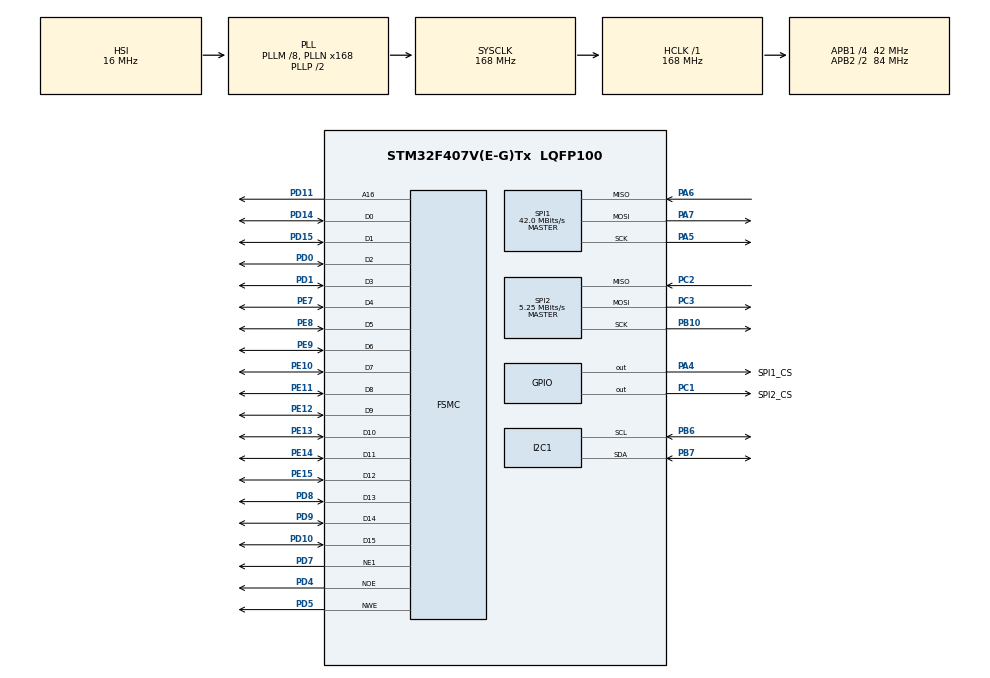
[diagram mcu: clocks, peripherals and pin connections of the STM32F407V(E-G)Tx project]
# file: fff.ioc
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FSMC.AddressSetupTime1=7
FSMC.DataSetupTime1=31
I2C1.I2C_Mode=I2C_Fast
Mcu.Family=STM32F4
Mcu.Name=STM32F407V(E-G)Tx
Mcu.Package=LQFP100
NVIC.PriorityGroup=NVIC_PRIORITYGROUP_4
PA4.GPIO_Label=SPI1_CS
PA4.Signal=GPIO_Output
PA5.Mode=Full_Duplex_Master
PA5.Signal=SPI1_SCK
PA6.Mode=Full_Duplex_Master
PA6.Signal=SPI1_MISO
PA7.Mode=Full_Duplex_Master
PA7.Signal=SPI1_MOSI
PB10.Mode=Full_Duplex_Master
PB10.Signal=SPI2_SCK
PB6.Mode=I2C
PB6.Signal=I2C1_SCL
PB7.Mode=I2C
PB7.Signal=I2C1_SDA
PC1.GPIO_Label=SPI2_CS
PC1.Signal=GPIO_Output
PC2.Mode=Full_Duplex_Master
PC2.Signal=SPI2_MISO
PC3.Mode=Full_Duplex_Master
PC3.Signal=SPI2_MOSI
PD0.Mode=16b-d1
PD0.Signal=FSMC_D2
PD1.Mode=16b-d1
PD1.Signal=FSMC_D3
PD10.Mode=16b-d1
PD10.Signal=FSMC_D15
PD11.Mode=A16_1
PD11.Signal=FSMC_A16
PD14.Mode=16b-d1
PD14.Signal=FSMC_D0
PD15.Mode=16b-d1
PD15.Signal=FSMC_D1
PD4.Mode=Lcd1
PD4.Signal=FSMC_NOE
PD5.Mode=Lcd1
PD5.Signal=FSMC_NWE
PD7.Mode=NorPsramChipSelect1_1
PD7.Signal=FSMC_NE1
PD8.Mode=16b-d1
PD8.Signal=FSMC_D13
PD9.Mode=16b-d1
PD9.Signal=FSMC_D14
PE10.Mode=16b-d1
PE10.Signal=FSMC_D7
PE11.Mode=16b-d1
PE11.Signal=FSMC_D8
PE12.Mode=16b-d1
PE12.Signal=FSMC_D9
PE13.Mode=16b-d1
PE13.Signal=FSMC_D10
PE14.Mode=16b-d1
PE14.Signal=FSMC_D11
PE15.Mode=16b-d1
PE15.Signal=FSMC_D12
PE7.Mode=16b-d1
PE7.Signal=FSMC_D4
PE8.Mode=16b-d1
PE8.Signal=FSMC_D5
PE9.Mode=16b-d1
PE9.Signal=FSMC_D6
ProjectManager.HeapSize=0x200
ProjectManager.StackSize=0x400
ProjectManager.TargetToolchain=SW4STM32
RCC.48MHZClocksFreq_Value=112000000
RCC.AHBFreq_Value=168000000
RCC.APB1CLKDivider=RCC_HCLK_DIV4
RCC.APB1Freq_Value=42000000
RCC.APB1TimFreq_Value=84000000
RCC.APB2CLKDivider=RCC_HCLK_DIV2
RCC.APB2Freq_Value=84000000
RCC.APB2TimFreq_Value=168000000
RCC.CortexFreq_Value=168000000
RCC.HCLKFreq_Value=168000000
RCC.HSE_VALUE=25000000
RCC.HSI_VALUE=16000000
RCC.LSE_VALUE=32768
RCC.PLLM=8
RCC.PLLN=168
RCC.PLLQ=3
RCC.SYSCLKFreq_VALUE=168000000
RCC.SYSCLKSource=RCC_SYSCLKSOURCE_PLLCLK
RCC.VCOOutputFreq_Value=336000000
SPI1.BaudRatePrescaler=SPI_BAUDRATEPRESCALER_2
SPI1.CalculateBaudRate=42.0 MBits/s
SPI1.Direction=SPI_DIRECTION_2LINES
SPI1.Mode=SPI_MODE_MASTER
SPI1.VirtualType=VM_MASTER
SPI2.BaudRatePrescaler=SPI_BAUDRATEPRESCALER_8
SPI2.CalculateBaudRate=5.25 MBits/s
SPI2.Direction=SPI_DIRECTION_2LINES
SPI2.FirstBit=SPI_FIRSTBIT_LSB
SPI2.Mode=SPI_MODE_MASTER
SPI2.VirtualType=VM_MASTER
board=custom

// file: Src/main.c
/**
 ******************************************************************************
 * @file           : main.c
 * @brief          : Main program body
 ******************************************************************************
 ** This notice applies to any and all portions of this file
 * that are not between comment pairs USER CODE BEGIN and
 * USER CODE END. Other portions of this file, whether
 * inserted by the user or by software development tools
 * are owned by their respective copyright owners.
 *
 * COPYRIGHT(c) 2018 STMicroelectronics
 *
 * Redistribution and use in source and binary forms, with or without modification,
 * are permitted provided that the following conditions are met:
 *   1. Redistributions of source code must retain the above copyright notice,
 *      this list of conditions and the following disclaimer.
 *   2. Redistributions in binary form must reproduce the above copyright notice,
 *      this list of conditions and the following disclaimer in the documentation
 *      and/or other materials provided with the distribution.
 *   3. Neither the name of STMicroelectronics nor the names of its contributors
 *      may be used to endorse or promote products derived from this software
 *      without specific prior written permission.
 *
 * THIS SOFTWARE IS PROVIDED BY THE COPYRIGHT HOLDERS AND CONTRIBUTORS "AS IS"
 * AND ANY EXPRESS OR IMPLIED WARRANTIES, INCLUDING, BUT NOT LIMITED TO, THE
 * IMPLIED WARRANTIES OF MERCHANTABILITY AND FITNESS FOR A PARTICULAR PURPOSE ARE
 * DISCLAIMED. IN NO EVENT SHALL THE COPYRIGHT HOLDER OR CONTRIBUTORS BE LIABLE
 * FOR ANY DIRECT, INDIRECT, INCIDENTAL, SPECIAL, EXEMPLARY, OR CONSEQUENTIAL
 * DAMAGES (INCLUDING, BUT NOT LIMITED TO, PROCUREMENT OF SUBSTITUTE GOODS OR
 * SERVICES; LOSS OF USE, DATA, OR PROFITS; OR BUSINESS INTERRUPTION) HOWEVER
 * CAUSED AND ON ANY THEORY OF LIABILITY, WHETHER IN CONTRACT, STRICT LIABILITY,
 * OR TORT (INCLUDING NEGLIGENCE OR OTHERWISE) ARISING IN ANY WAY OUT OF THE USE
 * OF THIS SOFTWARE, EVEN IF ADVISED OF THE POSSIBILITY OF SUCH DAMAGE.
 *
 ******************************************************************************
 */
#include "main.h"
#include "stm32f4xx_hal.h"

/* USER CODE BEGIN Includes */
#include "ILI9488.h"
#include "bitmap.h"
#include "FONTX2.h"
#include "vkeyboard.h"
#include "ff.h"
#include "HR2046.h"
/* USER CODE END Includes */

I2C_HandleTypeDef hi2c1;

SPI_HandleTypeDef hspi1;
SPI_HandleTypeDef hspi2;

SRAM_HandleTypeDef hsram1;

/* USER CODE BEGIN PV */
/* Private variables ---------------------------------------------------------*/

/* USER CODE END PV */

void SystemClock_Config(void);
static void MX_GPIO_Init(void);
static void MX_FSMC_Init(void);
static void MX_I2C1_Init(void);
static void MX_SPI1_Init(void);
static void MX_SPI2_Init(void);

/* USER CODE BEGIN PFP */
/* Private function prototypes -----------------------------------------------*/

/* USER CODE END PFP */

/* USER CODE BEGIN 0 */
//FatFs
FATFS FatFs;
FIL Fil;
UINT bw;
/* USER CODE END 0 */

int main(void) {

	/* MCU Configuration----------------------------------------------------------*/

	/* Reset of all peripherals, Initializes the Flash interface and the Systick. */
	HAL_Init();

	/* Configure the system clock */
	SystemClock_Config();

	/* Initialize all configured peripherals */
	MX_GPIO_Init();
	MX_FSMC_Init();
	MX_I2C1_Init();
	MX_SPI1_Init();
	MX_SPI2_Init();
	/* USER CODE BEGIN 2 */
	ILI9488_init();
	HR2046_init();
	ILI9488_drawRect(0, 0, 480, 320, RGB565(0xFF, 0xFF, 0xFF));
	if (f_mount(&FatFs, "", 1) == FR_OK) {
		ILI9488_puts(200, 0, 0x0000, 0xffff, "Mount Success!");
		ILI9488_puts(200, 0, 0x0000, 0xffff, "Mount Success!");
		f_open(&Fil, "tux.bmp", FA_READ | FA_OPEN_EXISTING);
		drawBitmapFF(200, 50, &Fil);
		f_close(&Fil);
		while(HR2046_getAxis().x ==9999);
		char str[255];
		vkb_getstr(str);
		ILI9488_drawRect(0, 0, 480, 320, RGB565(0xFF, 0xFF, 0xFF));
		fx_writestrFF(0,100,"���͕�����",0x0000,0xffff);
		fx_writestrFF(0,116,str,0x0000,0xffff);
	} else
		ILI9488_puts(200, 0, 0x0000, 0xffff, "Mount Failed!");
	/* USER CODE END 2 */

	/* Infinite loop */
	while (1) {

	}

}

void SystemClock_Config(void) {

	RCC_OscInitTypeDef RCC_OscInitStruct;
	RCC_ClkInitTypeDef RCC_ClkInitStruct;

	/**Configure the main internal regulator output voltage
	 */
	__HAL_RCC_PWR_CLK_ENABLE()
	;

	__HAL_PWR_VOLTAGESCALING_CONFIG(PWR_REGULATOR_VOLTAGE_SCALE1);

	/**Initializes the CPU, AHB and APB busses clocks
	 */
	RCC_OscInitStruct.OscillatorType = RCC_OSCILLATORTYPE_HSI;
	RCC_OscInitStruct.HSIState = RCC_HSI_ON;
	RCC_OscInitStruct.HSICalibrationValue = 16;
	RCC_OscInitStruct.PLL.PLLState = RCC_PLL_ON;
	RCC_OscInitStruct.PLL.PLLSource = RCC_PLLSOURCE_HSI;
	RCC_OscInitStruct.PLL.PLLM = 8;
	RCC_OscInitStruct.PLL.PLLN = 168;
	RCC_OscInitStruct.PLL.PLLP = RCC_PLLP_DIV2;
	RCC_OscInitStruct.PLL.PLLQ = 3;
	if (HAL_RCC_OscConfig(&RCC_OscInitStruct) != HAL_OK) {
		_Error_Handler(__FILE__, __LINE__);
	}

	/**Initializes the CPU, AHB and APB busses clocks
	 */
	RCC_ClkInitStruct.ClockType = RCC_CLOCKTYPE_HCLK | RCC_CLOCKTYPE_SYSCLK
			| RCC_CLOCKTYPE_PCLK1 | RCC_CLOCKTYPE_PCLK2;
	RCC_ClkInitStruct.SYSCLKSource = RCC_SYSCLKSOURCE_PLLCLK;
	RCC_ClkInitStruct.AHBCLKDivider = RCC_SYSCLK_DIV1;
	RCC_ClkInitStruct.APB1CLKDivider = RCC_HCLK_DIV4;
	RCC_ClkInitStruct.APB2CLKDivider = RCC_HCLK_DIV2;

	if (HAL_RCC_ClockConfig(&RCC_ClkInitStruct, FLASH_LATENCY_5) != HAL_OK) {
		_Error_Handler(__FILE__, __LINE__);
	}

	/**Configure the Systick interrupt time
	 */
	HAL_SYSTICK_Config(HAL_RCC_GetHCLKFreq() / 1000);

	/**Configure the Systick
	 */
	HAL_SYSTICK_CLKSourceConfig(SYSTICK_CLKSOURCE_HCLK);

	/* SysTick_IRQn interrupt configuration */
	HAL_NVIC_SetPriority(SysTick_IRQn, 0, 0);
}

/* I2C1 init function */
static void MX_I2C1_Init(void) {

	hi2c1.Instance = I2C1;
	hi2c1.Init.ClockSpeed = 400000;
	hi2c1.Init.DutyCycle = I2C_DUTYCYCLE_2;
	hi2c1.Init.OwnAddress1 = 0;
	hi2c1.Init.AddressingMode = I2C_ADDRESSINGMODE_7BIT;
	hi2c1.Init.DualAddressMode = I2C_DUALADDRESS_DISABLE;
	hi2c1.Init.OwnAddress2 = 0;
	hi2c1.Init.GeneralCallMode = I2C_GENERALCALL_DISABLE;
	hi2c1.Init.NoStretchMode = I2C_NOSTRETCH_DISABLE;
	if (HAL_I2C_Init(&hi2c1) != HAL_OK) {
		_Error_Handler(__FILE__, __LINE__);
	}

}

/* SPI1 init function */
static void MX_SPI1_Init(void) {

	/* SPI1 parameter configuration*/
	hspi1.Instance = SPI1;
	hspi1.Init.Mode = SPI_MODE_MASTER;
	hspi1.Init.Direction = SPI_DIRECTION_2LINES;
	hspi1.Init.DataSize = SPI_DATASIZE_8BIT;
	hspi1.Init.CLKPolarity = SPI_POLARITY_LOW;
	hspi1.Init.CLKPhase = SPI_PHASE_1EDGE;
	hspi1.Init.NSS = SPI_NSS_SOFT;
	hspi1.Init.BaudRatePrescaler = SPI_BAUDRATEPRESCALER_2;
	hspi1.Init.FirstBit = SPI_FIRSTBIT_MSB;
	hspi1.Init.TIMode = SPI_TIMODE_DISABLE;
	hspi1.Init.CRCCalculation = SPI_CRCCALCULATION_DISABLE;
	hspi1.Init.CRCPolynomial = 10;
	if (HAL_SPI_Init(&hspi1) != HAL_OK) {
		_Error_Handler(__FILE__, __LINE__);
	}

}

/* SPI2 init function */
static void MX_SPI2_Init(void) {

	/* SPI2 parameter configuration*/
	hspi2.Instance = SPI2;
	hspi2.Init.Mode = SPI_MODE_MASTER;
	hspi2.Init.Direction = SPI_DIRECTION_2LINES;
	hspi2.Init.DataSize = SPI_DATASIZE_8BIT;
	hspi2.Init.CLKPolarity = SPI_POLARITY_LOW;
	hspi2.Init.CLKPhase = SPI_PHASE_1EDGE;
	hspi2.Init.NSS = SPI_NSS_SOFT;
	hspi2.Init.BaudRatePrescaler = SPI_BAUDRATEPRESCALER_8;
	hspi2.Init.FirstBit = SPI_FIRSTBIT_LSB;
	hspi2.Init.TIMode = SPI_TIMODE_DISABLE;
	hspi2.Init.CRCCalculation = SPI_CRCCALCULATION_DISABLE;
	hspi2.Init.CRCPolynomial = 10;
	if (HAL_SPI_Init(&hspi2) != HAL_OK) {
		_Error_Handler(__FILE__, __LINE__);
	}

}

/** Configure pins as
 * Analog
 * Input
 * Output
 * EVENT_OUT
 * EXTI
 */
static void MX_GPIO_Init(void) {

	GPIO_InitTypeDef GPIO_InitStruct;

	/* GPIO Ports Clock Enable */
	__HAL_RCC_GPIOC_CLK_ENABLE()
	;
	__HAL_RCC_GPIOA_CLK_ENABLE()
	;
	__HAL_RCC_GPIOE_CLK_ENABLE()
	;
	__HAL_RCC_GPIOB_CLK_ENABLE()
	;
	__HAL_RCC_GPIOD_CLK_ENABLE()
	;

	/*Configure GPIO pin Output Level */
	HAL_GPIO_WritePin(SPI2_CS_GPIO_Port, SPI2_CS_Pin, GPIO_PIN_RESET);

	/*Configure GPIO pin Output Level */
	HAL_GPIO_WritePin(SPI1_CS_GPIO_Port, SPI1_CS_Pin, GPIO_PIN_RESET);

	/*Configure GPIO pin : SPI2_CS_Pin */
	GPIO_InitStruct.Pin = SPI2_CS_Pin;
	GPIO_InitStruct.Mode = GPIO_MODE_OUTPUT_PP;
	GPIO_InitStruct.Pull = GPIO_NOPULL;
	GPIO_InitStruct.Speed = GPIO_SPEED_FREQ_LOW;
	HAL_GPIO_Init(SPI2_CS_GPIO_Port, &GPIO_InitStruct);

	/*Configure GPIO pin : SPI1_CS_Pin */
	GPIO_InitStruct.Pin = SPI1_CS_Pin;
	GPIO_InitStruct.Mode = GPIO_MODE_OUTPUT_PP;
	GPIO_InitStruct.Pull = GPIO_NOPULL;
	GPIO_InitStruct.Speed = GPIO_SPEED_FREQ_LOW;
	HAL_GPIO_Init(SPI1_CS_GPIO_Port, &GPIO_InitStruct);

}

/* FSMC initialization function */
static void MX_FSMC_Init(void) {
	FSMC_NORSRAM_TimingTypeDef Timing;

	/** Perform the SRAM1 memory initialization sequence
	 */
	hsram1.Instance = FSMC_NORSRAM_DEVICE;
	hsram1.Extended = FSMC_NORSRAM_EXTENDED_DEVICE;
	/* hsram1.Init */
	hsram1.Init.NSBank = FSMC_NORSRAM_BANK1;
	hsram1.Init.DataAddressMux = FSMC_DATA_ADDRESS_MUX_DISABLE;
	hsram1.Init.MemoryType = FSMC_MEMORY_TYPE_SRAM;
	hsram1.Init.MemoryDataWidth = FSMC_NORSRAM_MEM_BUS_WIDTH_16;
	hsram1.Init.BurstAccessMode = FSMC_BURST_ACCESS_MODE_DISABLE;
	hsram1.Init.WaitSignalPolarity = FSMC_WAIT_SIGNAL_POLARITY_LOW;
	hsram1.Init.WrapMode = FSMC_WRAP_MODE_DISABLE;
	hsram1.Init.WaitSignalActive = FSMC_WAIT_TIMING_BEFORE_WS;
	hsram1.Init.WriteOperation = FSMC_WRITE_OPERATION_ENABLE;
	hsram1.Init.WaitSignal = FSMC_WAIT_SIGNAL_DISABLE;
	hsram1.Init.ExtendedMode = FSMC_EXTENDED_MODE_DISABLE;
	hsram1.Init.AsynchronousWait = FSMC_ASYNCHRONOUS_WAIT_DISABLE;
	hsram1.Init.WriteBurst = FSMC_WRITE_BURST_DISABLE;
	hsram1.Init.PageSize = FSMC_PAGE_SIZE_NONE;
	/* Timing */
	Timing.AddressSetupTime = 7;
	Timing.AddressHoldTime = 15;
	Timing.DataSetupTime = 31;
	Timing.BusTurnAroundDuration = 15;
	Timing.CLKDivision = 16;
	Timing.DataLatency = 17;
	Timing.AccessMode = FSMC_ACCESS_MODE_A;
	/* ExtTiming */

	if (HAL_SRAM_Init(&hsram1, &Timing, NULL) != HAL_OK) {
		_Error_Handler(__FILE__, __LINE__);
	}

}

/* USER CODE BEGIN 4 */
void HAL_GPIO_EXTI_Callback(uint16_t GPIO_Pin) {
	switch (GPIO_Pin) {
	default:
		break;
	}
}
/* USER CODE END 4 */

void _Error_Handler(char *file, int line) {
	while (1) {
	}
}

/************************ (C) COPYRIGHT STMicroelectronics *****END OF FILE****/
